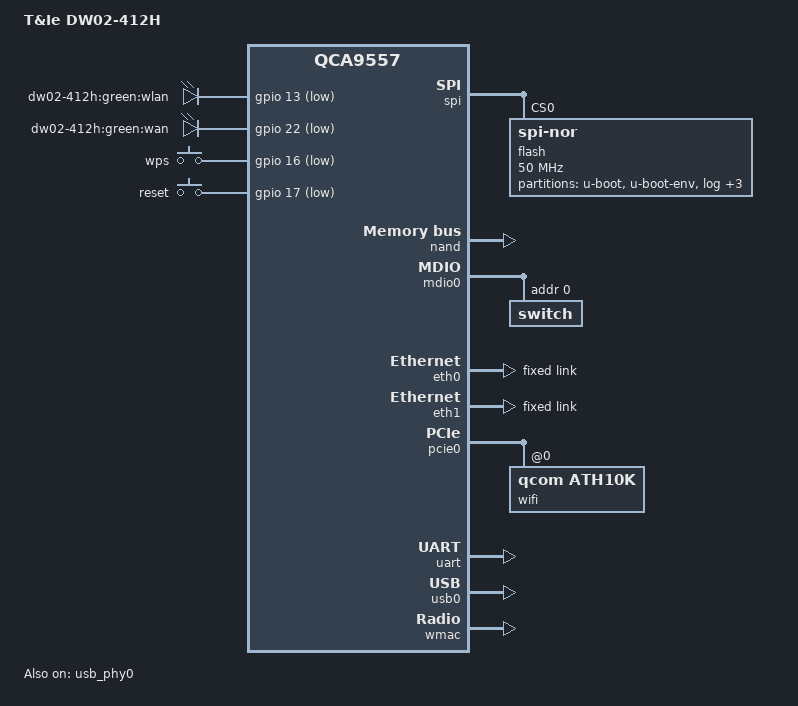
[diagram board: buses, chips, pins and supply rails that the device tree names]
// SPDX-License-Identifier: GPL-2.0-or-later OR MIT
/dts-v1/;

#include <dt-bindings/gpio/gpio.h>
#include <dt-bindings/input/input.h>

#include "qca955x.dtsi"

/ {
	compatible = "tnie,dw02-412h", "qca,qca9557";
	model = "T&Ie DW02-412H";

	aliases {
		led-boot = &led_wan;
		led-failsafe = &led_wan;
		led-upgrade = &led_wan;
	};

	chosen {
		bootargs = "console=ttyS0,115200n8";
	};

	leds {
		compatible = "gpio-leds";

		wlan {
			label = "dw02-412h:green:wlan";
			gpios = <&gpio 13 GPIO_ACTIVE_LOW>;
		};

		led_wan: wan {
			label = "dw02-412h:green:wan";
			gpios = <&gpio 22 GPIO_ACTIVE_LOW>;
		};
	};

	keys {
		compatible = "gpio-keys";

		wps {
			label = "wps";
			gpios = <&gpio 16 GPIO_ACTIVE_LOW>;
			linux,code = <KEY_WPS_BUTTON>;
		};

		reset {
			label = "reset";
			gpios = <&gpio 17 GPIO_ACTIVE_LOW>;
			linux,code = <KEY_RESTART>;
		};
	};
};

&spi {
	status = "okay";

	num-cs = <1>;

	flash@0 {
		compatible = "jedec,spi-nor";
		reg = <0>;
		spi-max-frequency = <50000000>;

		partitions {
			compatible = "fixed-partitions";
			#address-cells = <1>;
			#size-cells = <1>;

			partition@0 {
				label = "u-boot";
				reg = <0x0 0x40000>;
				read-only;
			};

			partition@40000 {
				label = "u-boot-env";
				reg = <0x40000 0x10000>;
			};

			partition@50000 {
				label = "log";
				reg = <0x50000 0x10000>;
				read-only;
			};

			partition@60000 {
				label = "recovery";
				reg = <0x60000 0x170000>;
				read-only;
			};

			partition@1d0000 {
				label = "nvram";
				reg = <0x1d0000 0x20000>;
				read-only;
			};

			art: partition@1f0000 {
				label = "art";
				reg = <0x1f0000 0x10000>;
				read-only;
			};
		};
	};
};

&nand {
	status = "okay";

	partitions {
		compatible = "fixed-partitions";
		#address-cells = <1>;
		#size-cells = <1>;

		partition@0 {
			label = "firmware";
			reg = <0x0 0x8000000>;

			compatible = "fixed-partitions";
			#address-cells = <1>;
			#size-cells = <1>;

			partition@0 {
				label = "kernel";
				reg = <0x0 0x400000>;
			};

			partition@400000 {
				label = "ubi";
				reg = <0x400000 0x7c00000>;
			};
		};
	};
};

&mdio0 {
	status = "okay";

	switch@0 {
		reg = <0x0>;
		qca,ar8327-initvals = <
			0x0004 0x07600000  /* PAD0_MODE */
			0x000c 0x00000080  /* PAD6_MODE */
			0x007c 0x0000007e  /* PORT0_STATUS */
			0x0094 0x0000007e  /* PORT6_STATUS */
			0x00e0 0xc74164de  /* SGMII_CTRL */
		>;
	};
};

&eth0 {
	status = "okay";

	pll-data = <0xa6000000 0x00000101 0x00001616>;
	mtd-mac-address = <&art 0x6>;
	mtd-mac-address-increment = <1>;

	fixed-link {
		speed = <1000>;
		full-duplex;
	};
};

&eth1 {
	status = "okay";

	pll-data = <0x03000101 0x00000101 0x00001616>;
	qca955x-sgmii-fixup;
	mtd-mac-address = <&art 0x6>;

	gmac-config {
		device = <&gmac>;
		ge0-sgmii = <0>;
		sgmii-mode = <2>;
		sgmii-force-speed = <1>;
		sgmii-speed = <2>;
	};

	fixed-link {
		speed = <1000>;
		full-duplex;
	};
};

&pcie0 {
	status = "okay";

	wifi@0,0 {
		compatible = "qcom,ath10k";
		reg = <0x0000 0 0 0 0>;
	};
};

&uart {
	status = "okay";
};

&usb_phy0 {
	status = "okay";
};

&usb0 {
	status = "okay";

	#address-cells = <1>;
	#size-cells = <0>;

	port@1 {
		reg = <1>;
		#trigger-source-cells = <0>;
	};
};

&wmac {
	status = "okay";

	mtd-cal-data = <&art 0x1000>;
	mtd-mac-address = <&art 0x0>;
	mtd-mac-address-increment = <3>;
};
